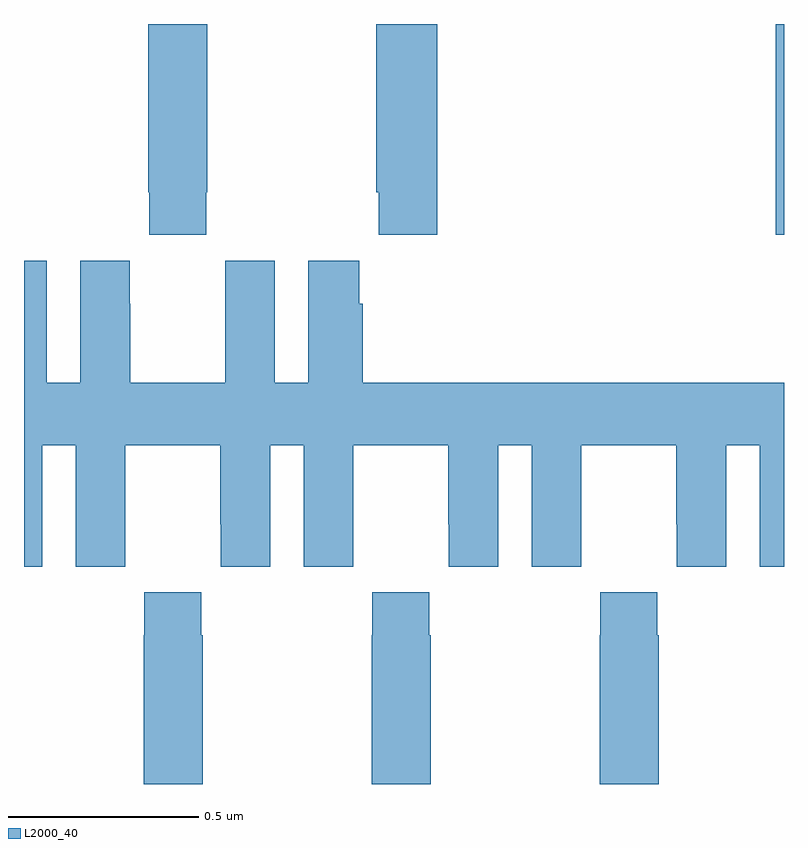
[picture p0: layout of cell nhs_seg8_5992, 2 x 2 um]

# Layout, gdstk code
import gdstk
lib = gdstk.Library(unit=1e-6, precision=1e-09)
def R(c, l, rs):  # rectangles x0, y0, x1, y1
    for r in rs: c.add(gdstk.rectangle(r[:2], r[2:], *l))
def P(c, l, *ps):  # polygons
    for p in ps: c.add(gdstk.Polygon(p, *l))
L2000_40 = (2000, 40)

nhs_seg8_5992 = lib.new_cell('nhs_seg8_5992')
R(nhs_seg8_5992, L2000_40, [(191.978,1158.345,192,1158.9)])
P(nhs_seg8_5992, L2000_40, [(190.479,1158.457),(190.482,1158.457),(190.482,1158.9),(190.327,1158.9),(190.327,1158.457),(190.329,1158.457),(190.329,1158.345),(190.479,1158.345)],
  [(191.087,1158.9),(190.927,1158.9),(190.927,1158.457),(190.933,1158.457),(190.933,1158.345),(191.087,1158.345)],
  [(190.06,1158.277),(190,1158.277),(190,1157.472),(190.048,1157.472),(190.048,1157.792),(190.136,1157.792),(190.136,1157.472),(190.266,1157.472),(190.266,1157.584),(190.267,1157.584),(190.267,1157.792),(190.517,1157.792),(190.517,1157.584),(190.518,1157.584),(190.518,1157.472),(190.648,1157.472),(190.648,1157.792),(190.736,1157.792),(190.736,1157.472),(190.866,1157.472),(190.866,1157.584),(190.867,1157.584),(190.867,1157.792),(191.117,1157.792),(191.117,1157.584),(191.118,1157.584),(191.118,1157.472),(191.248,1157.472),(191.248,1157.792),(191.336,1157.792),(191.336,1157.472),(191.466,1157.472),(191.466,1157.584),(191.467,1157.584),(191.467,1157.792),(191.717,1157.792),(191.717,1157.584),(191.718,1157.584),(191.718,1157.472),(191.848,1157.472),(191.848,1157.792),(191.936,1157.792),(191.936,1157.472),(192,1157.472),(192,1157.956),(190.892,1157.956),(190.892,1158.164),(190.882,1158.164),(190.882,1158.277),(190.748,1158.277),(190.748,1157.956),(190.66,1157.956),(190.66,1158.277),(190.53,1158.277),(190.53,1158.164),(190.529,1158.164),(190.529,1157.956),(190.279,1157.956),(190.279,1158.164),(190.278,1158.164),(190.278,1158.277),(190.148,1158.277),(190.148,1157.956),(190.06,1157.956)],
  [(190.47,1157.291),(190.467,1157.291),(190.467,1157.404),(190.317,1157.404),(190.317,1157.291),(190.315,1157.291),(190.315,1156.9),(190.47,1156.9)],
  [(191.07,1157.291),(191.067,1157.291),(191.067,1157.404),(190.917,1157.404),(190.917,1157.291),(190.915,1157.291),(190.915,1156.9),(191.07,1156.9)],
  [(191.67,1157.291),(191.667,1157.291),(191.667,1157.404),(191.517,1157.404),(191.517,1157.291),(191.515,1157.291),(191.515,1156.9),(191.67,1156.9)])

lib.write_gds('nhs_seg8_5992.gds')
